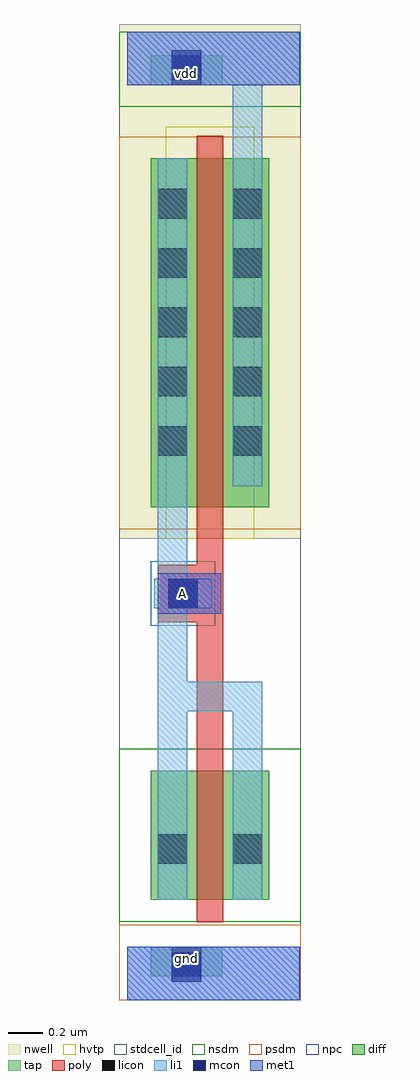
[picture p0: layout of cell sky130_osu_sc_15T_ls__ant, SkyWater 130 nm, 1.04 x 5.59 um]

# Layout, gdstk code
import gdstk
lib = gdstk.Library(unit=1e-6, precision=1e-09)
def R(c, l, rs):  # rectangles x0, y0, x1, y1
    for r in rs: c.add(gdstk.rectangle(r[:2], r[2:], *l))
def A(c, l, x, y, w, h, nx, ny, dx, dy):  # array of equal rectangles
    R(c, l, [(x+i*dx, y+j*dy, x+i*dx+w, y+j*dy+h) for i in range(nx) for j in range(ny)])
nwell = (64, 20)
diff = (65, 20)
tap = (65, 44)
poly = (66, 20)
licon = (66, 44)
li1 = (67, 20)
mcon = (67, 44)
met1 = (68, 20)
hvtp = (78, 44)
stdcell_id = (81, 4)
nsdm = (93, 44)
psdm = (94, 20)
npc = (95, 20)

sky130_osu_sc_15t_ls__an = lib.new_cell('sky130_osu_sc_15T_ls__ant')
R(sky130_osu_sc_15t_ls__an, nwell, [(-0.045,2.645,0.995,5.595)])
R(sky130_osu_sc_15t_ls__an, diff, [(0.135,0.575,0.815,1.315), (0.135,2.825,0.815,4.825)])
R(sky130_osu_sc_15t_ls__an, tap, [(0.135,0.135,0.545,0.305), (0.135,5.245,0.545,5.415)])
R(sky130_osu_sc_15t_ls__an, poly, [(0.4,0.445,0.55,2.165), (0.175,2.165,0.55,2.495), (0.4,2.495,0.55,4.955)])
A(sky130_osu_sc_15t_ls__an, licon, 0.175, 3.12, 0.17, 0.17, 1, 5, 0, 0.34)
A(sky130_osu_sc_15t_ls__an, licon, 0.605, 3.12, 0.17, 0.17, 1, 5, 0, 0.34)
R(sky130_osu_sc_15t_ls__an, licon, [(0.255,0.135,0.425,0.305), (0.175,0.78,0.345,0.95), (0.605,0.78,0.775,0.95), (0.235,2.245,0.405,2.415), (0.255,5.245,0.425,5.415)])
R(sky130_osu_sc_15t_ls__an, li1, [(0,0,0.99,0.305), (0.175,0.575,0.345,1.655), (0.605,0.575,0.775,1.655), (0.175,1.655,0.775,1.825), (0.175,1.825,0.345,2.245), (0.155,2.245,0.485,2.415), (0.175,2.415,0.345,4.825), (0.605,2.945,0.775,5.245), (0,5.245,0.99,5.55)])
R(sky130_osu_sc_15t_ls__an, mcon, [(0.255,0.105,0.425,0.275), (0.235,2.245,0.405,2.415), (0.255,5.275,0.425,5.445)])
R(sky130_osu_sc_15t_ls__an, met1, [(0,0,0.99,0.305), (0.175,2.215,0.54,2.445), (0,5.245,0.99,5.55)])
R(sky130_osu_sc_15t_ls__an, hvtp, [(0.22,2.645,0.73,5.005)])
R(sky130_osu_sc_15t_ls__an, stdcell_id, [(-0.045,0,0.995,5.55)])
R(sky130_osu_sc_15t_ls__an, nsdm, [(-0.045,0.45,0.995,1.44), (-0.045,5.12,0.995,5.55)])
R(sky130_osu_sc_15t_ls__an, psdm, [(-0.045,0,0.995,0.43), (-0.045,2.7,0.995,4.95)])
R(sky130_osu_sc_15t_ls__an, npc, [(0.135,2.145,0.505,2.515)])
sky130_osu_sc_15t_ls__an.add(gdstk.Label('gnd', (0.34,0.24), layer=68, texttype=16))
sky130_osu_sc_15t_ls__an.add(gdstk.Label('vdd', (0.34,5.31), layer=68, texttype=16))
sky130_osu_sc_15t_ls__an.add(gdstk.Label('A', (0.32,2.33), layer=68, texttype=5))

lib.write_gds('sky130_osu_sc_15T_ls__ant.gds')
